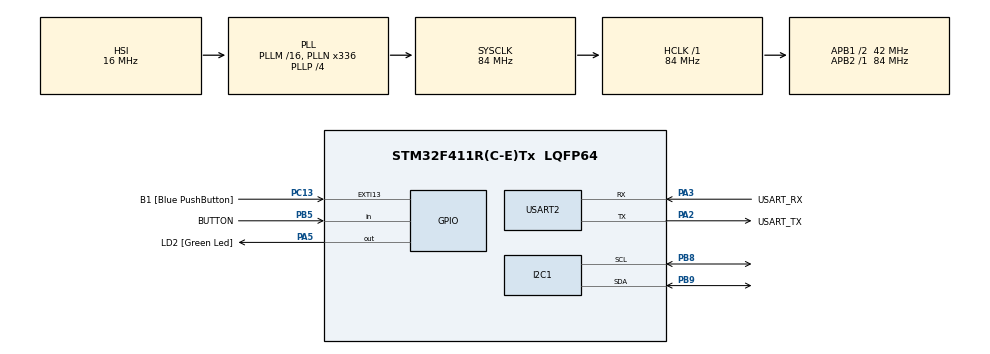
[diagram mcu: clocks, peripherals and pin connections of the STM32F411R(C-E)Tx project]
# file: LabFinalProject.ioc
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Mcu.Family=STM32F4
Mcu.Name=STM32F411R(C-E)Tx
Mcu.Package=LQFP64
NVIC.PriorityGroup=NVIC_PRIORITYGROUP_0
PA13.GPIO_Label=TMS
PA13.Mode=Serial_Wire
PA13.Signal=SYS_JTMS-SWDIO
PA14.GPIO_Label=TCK
PA14.Mode=Serial_Wire
PA14.Signal=SYS_JTCK-SWCLK
PA2.GPIO_Label=USART_TX
PA2.Mode=Asynchronous
PA2.Signal=USART2_TX
PA3.GPIO_Label=USART_RX
PA3.Mode=Asynchronous
PA3.Signal=USART2_RX
PA5.GPIO_Label=LD2 [Green Led]
PA5.Signal=GPIO_Output
PB3.GPIO_Label=SWO
PB3.Signal=SYS_JTDO-SWO
PB5.GPIO_Label=BUTTON
PB5.GPIO_PuPd=GPIO_PULLUP
PB5.Signal=GPIO_Input
PB8.Mode=I2C
PB8.Signal=I2C1_SCL
PB9.Mode=I2C
PB9.Signal=I2C1_SDA
PC13-ANTI_TAMP.GPIO_Label=B1 [Blue PushButton]
PC13-ANTI_TAMP.GPIO_ModeDefaultEXTI=GPIO_MODE_IT_FALLING
PC13-ANTI_TAMP.Signal=GPXTI13
PC14-OSC32_IN.Mode=LSE-External-Oscillator
PC14-OSC32_IN.Signal=RCC_OSC32_IN
PC15-OSC32_OUT.Mode=LSE-External-Oscillator
PC15-OSC32_OUT.Signal=RCC_OSC32_OUT
PH0\ -\ OSC_IN.Mode=HSE-External-Clock-Source
PH0\ -\ OSC_IN.Signal=RCC_OSC_IN
PH1\ -\ OSC_OUT.Mode=HSE-External-Clock-Source
PH1\ -\ OSC_OUT.Signal=RCC_OSC_OUT
ProjectManager.HeapSize=0x200
ProjectManager.StackSize=0x400
ProjectManager.TargetToolchain=STM32CubeIDE
RCC.48MHZClocksFreq_Value=84000000
RCC.AHBFreq_Value=84000000
RCC.APB1CLKDivider=RCC_HCLK_DIV2
RCC.APB1Freq_Value=42000000
RCC.APB1TimFreq_Value=84000000
RCC.APB2Freq_Value=84000000
RCC.APB2TimFreq_Value=84000000
RCC.CortexFreq_Value=84000000
RCC.FLatency-AdvancedSettings=FLASH_LATENCY_2
RCC.HCLKFreq_Value=84000000
RCC.HSE_VALUE=8000000
RCC.HSI_VALUE=16000000
RCC.PLLN=336
RCC.PLLP=RCC_PLLP_DIV4
RCC.SYSCLKFreq_VALUE=84000000
RCC.SYSCLKSource=RCC_SYSCLKSOURCE_PLLCLK
RCC.VCOOutputFreq_Value=336000000
USART2.VirtualMode=VM_ASYNC
board=NUCLEO-F411RE

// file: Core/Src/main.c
/* USER CODE BEGIN Header */
/**
  ******************************************************************************
  * @file           : main.c
  * @brief          : Main program body
  ******************************************************************************
  * @attention
  *
  * Copyright (c) 2026 STMicroelectronics.
  * All rights reserved.
  *
  * This software is licensed under terms that can be found in the LICENSE file
  * in the root directory of this software component.
  * If no LICENSE file comes with this software, it is provided AS-IS.
  *
  ******************************************************************************
  */
/* USER CODE END Header */
#include "main.h"

/* USER CODE BEGIN Includes */
#include <stdio.h>
#include "button.h"
#include "gesture.h"
#include "imu.h"
#include "tool.h"
/* USER CODE END Includes */

/* USER CODE BEGIN PD */
#define SAMPLE_PERIOD_MS 10
#define MAX_READ_FAILS   10  // consecutive failed reads before re-running imu_init()
#define RESULT_SLOTS     4   // gestures kept before the list is sent one last time and cleared
/* USER CODE END PD */

I2C_HandleTypeDef hi2c1;

UART_HandleTypeDef huart2;

/* USER CODE BEGIN PV */
static imu_sample_t recording[GESTURE_MODEL_SAMPLES];  // one button hold
static size_t recorded;
static int results[RESULT_SLOTS];  // gesture IDs, -1 = unsure
static int result_count;
/* USER CODE END PV */

void SystemClock_Config(void);
static void MX_GPIO_Init(void);
static void MX_USART2_UART_Init(void);
static void MX_I2C1_Init(void);

/* USER CODE BEGIN 0 */
int __io_putchar(int ch)
{
  HAL_UART_Transmit(&huart2, (uint8_t *)&ch, 1, HAL_MAX_DELAY);
  return ch;
}

/* Sends every slot, e.g. "RESULTS 0 3 -1 _" with _ for an empty slot. */
static void send_results(void)
{
  printf("RESULTS");
  for (int i = 0; i < RESULT_SLOTS; i++)
  {
    if (i < result_count)
      printf(" %d", results[i]);
    else
      printf(" _");
  }
  printf("\r\n");
}

/* Classifies the recording just finished, stores the result and sends the list. */
static void finish_gesture(void)
{
  results[result_count++] = gesture_classify(recording, recorded);
  send_results();
  if (result_count == RESULT_SLOTS)
    result_count = 0;
}
/* USER CODE END 0 */

int main(void)
{

  /* USER CODE BEGIN 1 */
  uint32_t next_sample;
  imu_sample_t s;
  int read_fails = 0;
  /* USER CODE END 1 */

  /* MCU Configuration--------------------------------------------------------*/

  /* Reset of all peripherals, Initializes the Flash interface and the Systick. */
  HAL_Init();

  /* Configure the system clock */
  SystemClock_Config();

  /* Initialize all configured peripherals */
  MX_GPIO_Init();
  MX_USART2_UART_Init();
  MX_I2C1_Init();
  /* USER CODE BEGIN 2 */
  printf("WHO_AM_I = 0x%02X\r\n", imu_init());
#ifdef TOOL
  tool_run();  // a bench firmware replaces the lock's loop, see tool.h; never returns
#endif
  next_sample = HAL_GetTick();
  send_results();  // empty list: shows the board is up and ready
  /* USER CODE END 2 */

  /* Infinite loop */
  while (1)
  {

    /* USER CODE BEGIN 3 */
    // KY-004 S is pulled up and reads low while pressed
    int pressed = HAL_GPIO_ReadPin(BUTTON_GPIO_Port, BUTTON_Pin) == GPIO_PIN_RESET;
    switch (button_update(pressed, HAL_GetTick()))
    {
    case BUTTON_PRESSED:
      recorded = 0;
      next_sample = HAL_GetTick();  // first sample now, not at the old schedule
      break;
    case BUTTON_GESTURE:
      finish_gesture();
      break;
    case BUTTON_DOUBLE_TAP:
      result_count = 0;
      printf("RESET\r\n");
      break;
    case BUTTON_NONE:
      break;
    }

    // Signed difference keeps working when the tick counter wraps around
    if (button_held() && (int32_t)(HAL_GetTick() - next_sample) >= 0)
    {
      next_sample += SAMPLE_PERIOD_MS;
      // Holds longer than the model's 2 s window keep only their start
      if (imu_read(&s) == 0)
      {
        if (recorded < GESTURE_MODEL_SAMPLES)
          recording[recorded++] = s;
        read_fails = 0;
      }
      else if (++read_fails >= MAX_READ_FAILS)
      {
        // The bus can stick at runtime too (a jumper pops out and back). imu_init() frees it
        // and reapplies the settings. Only RESULTS lines are protocol; the rest is noise.
        read_fails = 0;
        printf("imu reset, WHO_AM_I = 0x%02X\r\n", imu_init());
        next_sample = HAL_GetTick();  // recovery takes ~50-90 ms; don't burst to catch up
      }
    }
  }
  /* USER CODE END 3 */
}

void SystemClock_Config(void)
{
  RCC_OscInitTypeDef RCC_OscInitStruct = {0};
  RCC_ClkInitTypeDef RCC_ClkInitStruct = {0};

  /** Configure the main internal regulator output voltage
  */
  __HAL_RCC_PWR_CLK_ENABLE();
  __HAL_PWR_VOLTAGESCALING_CONFIG(PWR_REGULATOR_VOLTAGE_SCALE1);

  /** Initializes the RCC Oscillators according to the specified parameters
  * in the RCC_OscInitTypeDef structure.
  */
  RCC_OscInitStruct.OscillatorType = RCC_OSCILLATORTYPE_HSI;
  RCC_OscInitStruct.HSIState = RCC_HSI_ON;
  RCC_OscInitStruct.HSICalibrationValue = RCC_HSICALIBRATION_DEFAULT;
  RCC_OscInitStruct.PLL.PLLState = RCC_PLL_ON;
  RCC_OscInitStruct.PLL.PLLSource = RCC_PLLSOURCE_HSI;
  RCC_OscInitStruct.PLL.PLLM = 16;
  RCC_OscInitStruct.PLL.PLLN = 336;
  RCC_OscInitStruct.PLL.PLLP = RCC_PLLP_DIV4;
  RCC_OscInitStruct.PLL.PLLQ = 4;
  if (HAL_RCC_OscConfig(&RCC_OscInitStruct) != HAL_OK)
  {
    Error_Handler();
  }

  /** Initializes the CPU, AHB and APB buses clocks
  */
  RCC_ClkInitStruct.ClockType = RCC_CLOCKTYPE_HCLK|RCC_CLOCKTYPE_SYSCLK
                              |RCC_CLOCKTYPE_PCLK1|RCC_CLOCKTYPE_PCLK2;
  RCC_ClkInitStruct.SYSCLKSource = RCC_SYSCLKSOURCE_PLLCLK;
  RCC_ClkInitStruct.AHBCLKDivider = RCC_SYSCLK_DIV1;
  RCC_ClkInitStruct.APB1CLKDivider = RCC_HCLK_DIV2;
  RCC_ClkInitStruct.APB2CLKDivider = RCC_HCLK_DIV1;

  if (HAL_RCC_ClockConfig(&RCC_ClkInitStruct, FLASH_LATENCY_2) != HAL_OK)
  {
    Error_Handler();
  }
}

static void MX_I2C1_Init(void)
{

  hi2c1.Instance = I2C1;
  hi2c1.Init.ClockSpeed = 100000;
  hi2c1.Init.DutyCycle = I2C_DUTYCYCLE_2;
  hi2c1.Init.OwnAddress1 = 0;
  hi2c1.Init.AddressingMode = I2C_ADDRESSINGMODE_7BIT;
  hi2c1.Init.DualAddressMode = I2C_DUALADDRESS_DISABLE;
  hi2c1.Init.OwnAddress2 = 0;
  hi2c1.Init.GeneralCallMode = I2C_GENERALCALL_DISABLE;
  hi2c1.Init.NoStretchMode = I2C_NOSTRETCH_DISABLE;
  if (HAL_I2C_Init(&hi2c1) != HAL_OK)
  {
    Error_Handler();
  }

}

static void MX_USART2_UART_Init(void)
{

  huart2.Instance = USART2;
  huart2.Init.BaudRate = 115200;
  huart2.Init.WordLength = UART_WORDLENGTH_8B;
  huart2.Init.StopBits = UART_STOPBITS_1;
  huart2.Init.Parity = UART_PARITY_NONE;
  huart2.Init.Mode = UART_MODE_TX_RX;
  huart2.Init.HwFlowCtl = UART_HWCONTROL_NONE;
  huart2.Init.OverSampling = UART_OVERSAMPLING_16;
  if (HAL_UART_Init(&huart2) != HAL_OK)
  {
    Error_Handler();
  }

}

static void MX_GPIO_Init(void)
{
  GPIO_InitTypeDef GPIO_InitStruct = {0};

  /* GPIO Ports Clock Enable */
  __HAL_RCC_GPIOC_CLK_ENABLE();
  __HAL_RCC_GPIOH_CLK_ENABLE();
  __HAL_RCC_GPIOA_CLK_ENABLE();
  __HAL_RCC_GPIOB_CLK_ENABLE();

  /*Configure GPIO pin Output Level */
  HAL_GPIO_WritePin(LD2_GPIO_Port, LD2_Pin, GPIO_PIN_RESET);

  /*Configure GPIO pin : B1_Pin */
  GPIO_InitStruct.Pin = B1_Pin;
  GPIO_InitStruct.Mode = GPIO_MODE_IT_FALLING;
  GPIO_InitStruct.Pull = GPIO_NOPULL;
  HAL_GPIO_Init(B1_GPIO_Port, &GPIO_InitStruct);

  /*Configure GPIO pin : LD2_Pin */
  GPIO_InitStruct.Pin = LD2_Pin;
  GPIO_InitStruct.Mode = GPIO_MODE_OUTPUT_PP;
  GPIO_InitStruct.Pull = GPIO_NOPULL;
  GPIO_InitStruct.Speed = GPIO_SPEED_FREQ_LOW;
  HAL_GPIO_Init(LD2_GPIO_Port, &GPIO_InitStruct);

  /*Configure GPIO pin : BUTTON_Pin */
  GPIO_InitStruct.Pin = BUTTON_Pin;
  GPIO_InitStruct.Mode = GPIO_MODE_INPUT;
  GPIO_InitStruct.Pull = GPIO_PULLUP;
  HAL_GPIO_Init(BUTTON_GPIO_Port, &GPIO_InitStruct);

}

void Error_Handler(void)
{
  __disable_irq();
  while (1)
  {
  }
}
